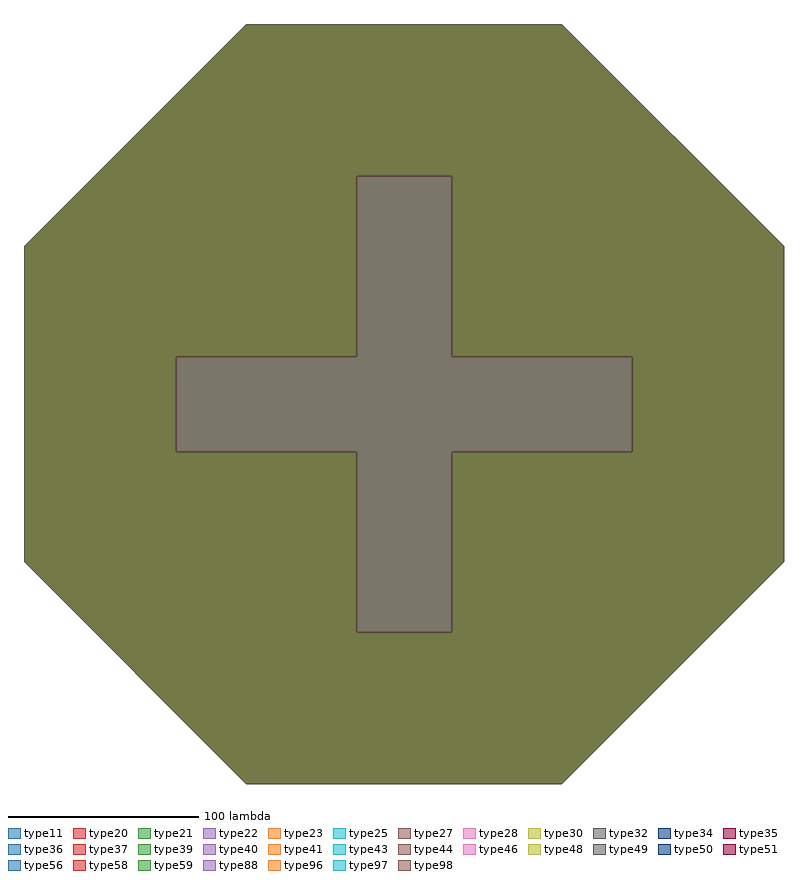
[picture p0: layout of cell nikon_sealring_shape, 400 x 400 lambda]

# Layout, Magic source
magic
tech sky130seal_ring
<< type21 >>
rect 175 225 225 320
rect 80 175 320 225
rect 175 80 225 175
<< type22 >>
rect 175 225 225 320
rect 80 175 320 225
rect 175 80 225 175
<< type23 >>
rect 175 225 225 320
rect 80 175 320 225
rect 175 80 225 175
<< type27 >>
rect 175 225 225 320
rect 80 175 320 225
rect 175 80 225 175
<< type28 >>
rect 175 225 225 320
rect 80 175 320 225
rect 175 80 225 175
<< type30 >>
rect 175 225 225 320
rect 80 175 320 225
rect 175 80 225 175
<< type32 >>
rect 175 225 225 320
rect 80 175 320 225
rect 175 80 225 175
<< type34 >>
rect 175 225 225 320
rect 80 175 320 225
rect 175 80 225 175
<< type35 >>
rect 175 225 225 320
rect 80 175 320 225
rect 175 80 225 175
<< type36 >>
rect 175 225 225 320
rect 80 175 320 225
rect 175 80 225 175
<< type40 >>
rect 175 225 225 320
rect 80 175 320 225
rect 175 80 225 175
<< type41 >>
rect 175 225 225 320
rect 80 175 320 225
rect 175 80 225 175
<< type43 >>
rect 175 225 225 320
rect 80 175 320 225
rect 175 80 225 175
<< type44 >>
rect 175 225 225 320
rect 80 175 320 225
rect 175 80 225 175
<< type46 >>
rect 175 225 225 320
rect 80 175 320 225
rect 175 80 225 175
<< type50 >>
rect 175 225 225 320
rect 80 175 320 225
rect 175 80 225 175
<< type51 >>
rect 175 225 225 320
rect 80 175 320 225
rect 175 80 225 175
<< type56 >>
rect 175 225 225 320
rect 80 175 320 225
rect 175 80 225 175
<< type58 >>
rect 175 225 225 320
rect 80 175 320 225
rect 175 80 225 175
<< type59 >>
rect 175 225 225 320
rect 80 175 320 225
rect 175 80 225 175
<< type88 >>
rect 175 225 225 320
rect 80 175 320 225
rect 175 80 225 175
<< type96 >>
rect 175 225 225 320
rect 80 175 320 225
rect 175 80 225 175
<< type97 >>
rect 175 225 225 320
rect 80 175 320 225
rect 175 80 225 175
<< type98 >>
rect 175 225 225 320
rect 80 175 320 225
rect 175 80 225 175
use sr_polygon00006  sr_polygon00006_0
transform 1 0 0 0 1 0
box 0 0 400 400
use sr_polygon00005  sr_polygon00005_0
transform 1 0 0 0 1 0
box 0 0 400 400
use sr_polygon00004  sr_polygon00004_0
transform 1 0 0 0 1 0
box 0 0 400 400
use sr_polygon00003  sr_polygon00003_0
transform 1 0 0 0 1 0
box 0 0 400 400
use sr_polygon00002  sr_polygon00002_0
transform 1 0 0 0 1 0
box 0 0 400 400
use sr_polygon00001  sr_polygon00001_0
transform 1 0 0 0 1 0
box 0 0 400 400
use sr_polygon00007  sr_polygon00007_0
transform 1 0 0 0 1 0
box 0 0 400 400
<< end >>

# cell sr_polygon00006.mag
magic
tech sky130seal_ring
<< type49 >>
tri 0 283 117 400 se
rect 117 320 283 400
rect 117 283 175 320
rect 0 225 175 283
rect 225 283 283 320
tri 283 283 400 400 sw
rect 225 225 400 283
rect 0 175 80 225
rect 320 175 400 225
rect 0 117 175 175
tri 0 0 117 117 ne
rect 117 80 175 117
rect 225 117 400 175
rect 225 80 283 117
rect 117 0 283 80
tri 283 0 400 117 nw
<< end >>

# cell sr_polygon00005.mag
magic
tech sky130seal_ring
<< type11 >>
tri 0 283 117 400 se
rect 117 320 283 400
rect 117 283 175 320
rect 0 225 175 283
rect 225 283 283 320
tri 283 283 400 400 sw
rect 225 225 400 283
rect 0 175 80 225
rect 320 175 400 225
rect 0 117 175 175
tri 0 0 117 117 ne
rect 117 80 175 117
rect 225 117 400 175
rect 225 80 283 117
rect 117 0 283 80
tri 283 0 400 117 nw
<< end >>

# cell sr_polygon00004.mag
magic
tech sky130seal_ring
<< type39 >>
tri 0 283 117 400 se
rect 117 320 283 400
rect 117 283 175 320
rect 0 225 175 283
rect 225 283 283 320
tri 283 283 400 400 sw
rect 225 225 400 283
rect 0 175 80 225
rect 320 175 400 225
rect 0 117 175 175
tri 0 0 117 117 ne
rect 117 80 175 117
rect 225 117 400 175
rect 225 80 283 117
rect 117 0 283 80
tri 283 0 400 117 nw
<< end >>

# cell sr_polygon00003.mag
magic
tech sky130seal_ring
<< type20 >>
tri 0 283 117 400 se
rect 117 320 283 400
rect 117 283 175 320
rect 0 225 175 283
rect 225 283 283 320
tri 283 283 400 400 sw
rect 225 225 400 283
rect 0 175 80 225
rect 320 175 400 225
rect 0 117 175 175
tri 0 0 117 117 ne
rect 117 80 175 117
rect 225 117 400 175
rect 225 80 283 117
rect 117 0 283 80
tri 283 0 400 117 nw
<< end >>

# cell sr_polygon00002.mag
magic
tech sky130seal_ring
<< type25 >>
tri 0 283 117 400 se
rect 117 320 283 400
rect 117 283 175 320
rect 0 225 175 283
rect 225 283 283 320
tri 283 283 400 400 sw
rect 225 225 400 283
rect 0 175 80 225
rect 320 175 400 225
rect 0 117 175 175
tri 0 0 117 117 ne
rect 117 80 175 117
rect 225 117 400 175
rect 225 80 283 117
rect 117 0 283 80
tri 283 0 400 117 nw
<< end >>

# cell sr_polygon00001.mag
magic
tech sky130seal_ring
<< type48 >>
tri 0 283 117 400 se
rect 117 320 283 400
rect 117 283 175 320
rect 0 225 175 283
rect 225 283 283 320
tri 283 283 400 400 sw
rect 225 225 400 283
rect 0 175 80 225
rect 320 175 400 225
rect 0 117 175 175
tri 0 0 117 117 ne
rect 117 80 175 117
rect 225 117 400 175
rect 225 80 283 117
rect 117 0 283 80
tri 283 0 400 117 nw
<< end >>

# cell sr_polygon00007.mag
magic
tech sky130seal_ring
<< type37 >>
tri 0 283 117 400 se
rect 117 320 283 400
rect 117 283 175 320
rect 0 225 175 283
rect 225 283 283 320
tri 283 283 400 400 sw
rect 225 225 400 283
rect 0 175 80 225
rect 320 175 400 225
rect 0 117 175 175
tri 0 0 117 117 ne
rect 117 80 175 117
rect 225 117 400 175
rect 225 80 283 117
rect 117 0 283 80
tri 283 0 400 117 nw
<< end >>
